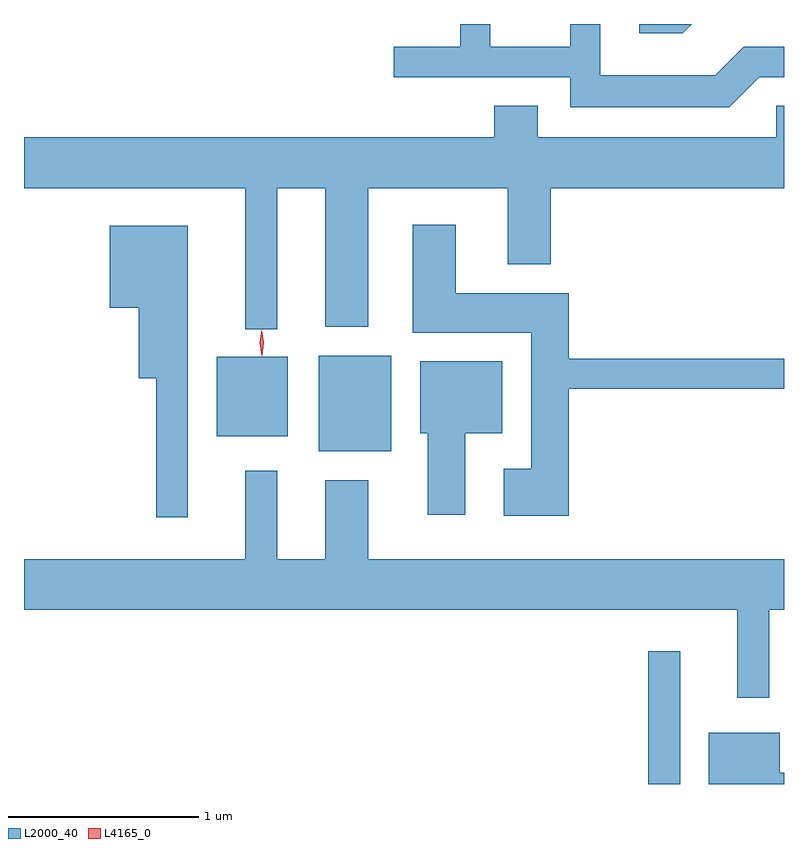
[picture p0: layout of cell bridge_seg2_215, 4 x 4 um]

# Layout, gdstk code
import gdstk
lib = gdstk.Library(unit=1e-6, precision=1e-09)
def R(c, l, rs):  # rectangles x0, y0, x1, y1
    for r in rs: c.add(gdstk.rectangle(r[:2], r[2:], *l))
def P(c, l, *ps):  # polygons
    for p in ps: c.add(gdstk.Polygon(p, *l))
L2000_40 = (2000, 40)
L4165_0 = (4165, 0)

bridge_seg2_215 = lib.new_cell('bridge_seg2_215')
R(bridge_seg2_215, L2000_40, [(528.561,1089.58,528.729,1090.278), (526.826,1091.331,527.209,1091.834), (526.291,1091.411,526.664,1091.829)])
P(bridge_seg2_215, L2000_40, [(529.147,1093.301),(529.276,1093.301),(529.276,1093.459),(529.064,1093.459),(528.914,1093.309),(528.309,1093.309),(528.309,1093.58),(528.151,1093.58),(528.151,1093.459),(527.729,1093.459),(527.729,1093.58),(527.571,1093.58),(527.571,1093.459),(527.223,1093.459),(527.223,1093.301),(528.151,1093.301),(528.151,1093.141),(528.987,1093.141)],
  [(528.791,1093.58),(528.513,1093.58),(528.513,1093.531),(528.742,1093.531)],
  [(526.609,1092.716),(526.861,1092.716),(526.861,1091.986),(527.089,1091.986),(527.089,1092.716),(527.821,1092.716),(527.821,1092.316),(528.049,1092.316),(528.049,1092.716),(529.276,1092.716),(529.276,1093.149),(529.236,1093.149),(529.236,1092.984),(527.979,1092.984),(527.979,1093.149),(527.751,1093.149),(527.751,1092.984),(525.276,1092.984),(525.276,1092.716),(526.441,1092.716),(526.441,1091.973),(526.609,1091.973)],
  [(528.144,1091.661),(529.276,1091.661),(529.276,1091.819),(528.144,1091.819),(528.144,1092.164),(527.549,1092.164),(527.549,1092.524),(527.321,1092.524),(527.321,1091.956),(527.946,1091.956),(527.946,1091.239),(527.801,1091.239),(527.801,1090.991),(528.144,1090.991)],
  [(526.139,1092.519),(525.726,1092.519),(525.726,1092.086),(525.881,1092.086),(525.881,1091.716),(525.971,1091.716),(525.971,1090.983),(526.139,1090.983)],
  [(527.599,1091.426),(527.794,1091.426),(527.794,1091.804),(527.361,1091.804),(527.361,1091.426),(527.401,1091.426),(527.401,1090.996),(527.599,1090.996)],
  [(529.199,1090.496),(529.276,1090.496),(529.276,1090.764),(527.089,1090.764),(527.089,1091.179),(526.861,1091.179),(526.861,1090.764),(526.609,1090.764),(526.609,1091.228),(526.441,1091.228),(526.441,1090.764),(525.276,1090.764),(525.276,1090.496),(529.031,1090.496),(529.031,1090.033),(529.199,1090.033)],
  [(529.276,1089.639),(529.254,1089.639),(529.254,1089.849),(528.881,1089.849),(528.881,1089.58),(529.276,1089.58)])
P(bridge_seg2_215, L4165_0, [(526.528,1091.834),(526.518,1091.902),(526.528,1091.97),(526.528,1091.97),(526.528,1091.97),(526.538,1091.902),(526.529,1091.834),(526.529,1091.834)],
  [(526.529,1091.838),(526.528,1091.839),(526.518,1091.902),(526.528,1091.966),(526.528,1091.967),(526.528,1091.966),(526.538,1091.903),(526.529,1091.839)])

lib.write_gds('bridge_seg2_215.gds')
